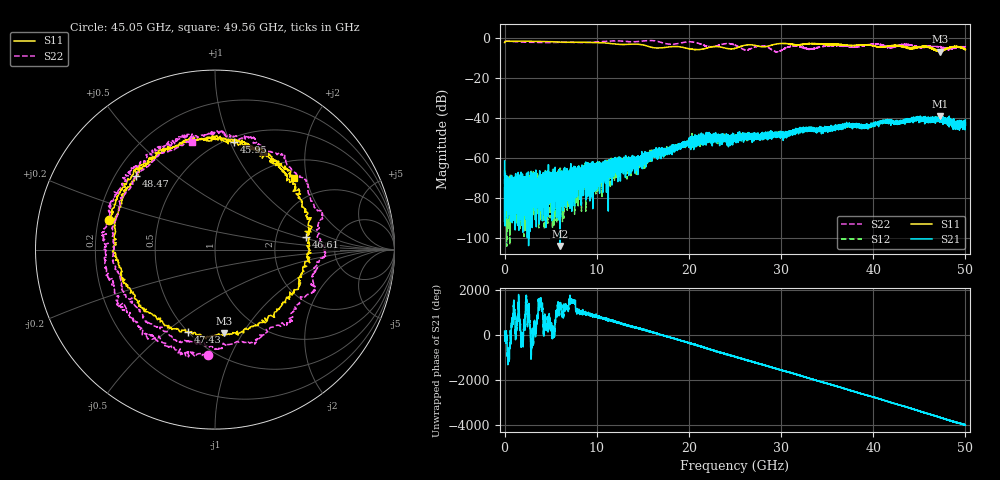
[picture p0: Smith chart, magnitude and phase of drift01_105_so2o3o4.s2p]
!Created with skrf (http://scikit-rf.org).
# Hz S RI R 50.0
!freq ReS11 ImS11 ReS21 ImS21 ReS12 ImS12 ReS22 ImS22
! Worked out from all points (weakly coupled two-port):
!   10001 points, 300 kHz to 50 GHz, reference 50 ohm
!   highest |S21| = -38.94 dB at 47.26 GHz (marker M1); lowest = -104.0 dB at 5.99 GHz (marker M2)
!   lowest |S11| = -6.6 dB at 47.25 GHz (marker M3), VSWR 2.77, Z = 34.9 - j41.7 ohm
!   |S11| at or under -10 dB: nowhere
!   |S22| runs from -6.8 to -1.0 dB; largest |S21 - S12| = 0.0038
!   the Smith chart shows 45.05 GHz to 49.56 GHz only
!   S11 on the Smith chart (normalised r, x): 45.05 GHz: 0.24, +0.13; 45.95 GHz: 0.54, +1.04; 46.61 GHz: 2.98, +0.56; 47.43 GHz: 0.50, -0.60; 48.47 GHz: 0.29, +0.37; 49.56 GHz: 1.37, +1.68
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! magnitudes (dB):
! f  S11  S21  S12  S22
! 300 kHz  -2.1  -61.3  -66.1  -1.3
! 255.3 MHz  -1.4  -73.4  -73.1  -1.4
! 530.3 MHz  -1.5  -81.3  -87.9  -1.4
! 5.99 GHz  -1.8  -104.0  -72.7  -1.9
! 8.335 GHz  -1.9  -68.7  -83.0  -2.1
! 16.67 GHz  -4.8  -56.4  -57.4  -1.6
! 22.12 GHz  -4.6  -50.7  -49.3  -4.1
! 25 GHz  -5.0  -51.2  -48.5  -3.4
! 28.09 GHz  -4.2  -48.7  -48.5  -3.8
! 29.53 GHz  -2.8  -47.1  -47.7  -6.7
! 31.26 GHz  -3.1  -45.9  -47.2  -3.9
! 33.34 GHz  -2.6  -45.5  -45.8  -5.3
! 41.67 GHz  -3.9  -41.4  -41.3  -4.5
! 45.05 GHz  -4.3  -41.5  -40.0  -4.6
! 45.95 GHz  -4.3  -41.1  -41.2  -3.9
! 46.61 GHz  -5.8  -40.4  -40.6  -3.6
! 47.25 GHz  -6.6  -39.8  -40.0  -4.3
! 47.26 GHz  -6.4  -38.9  -40.6  -4.1
! 47.43 GHz  -6.3  -40.7  -40.8  -4.3
! 48.47 GHz  -4.4  -42.1  -41.4  -5.2
! 49.56 GHz  -4.5  -43.8  -43.3  -4.2
! 50 GHz  -5.6  -40.9  -42.3  -4.3
